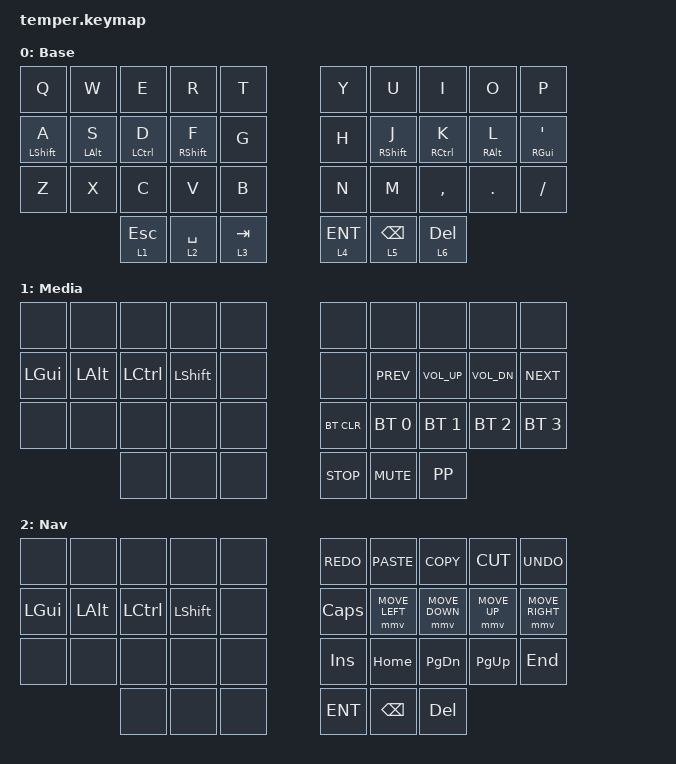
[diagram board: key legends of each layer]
/*
 * Copyright (c) 2020 The ZMK Contributors
 *
 * SPDX-License-Identifier: MIT
 */

#include <behaviors.dtsi>
#include <dt-bindings/zmk/keys.h>
#include <dt-bindings/zmk/bt.h>
#include <dt-bindings/zmk/pointing.h>

#define KEYS_L LT0 LT1 LT2 LT3 LT4 LM0 LM1 LM2 LM3 LM4 LB0 LB1 LB2 LB3 LB4  // Left-hand keys.
#define KEYS_R RT0 RT1 RT2 RT3 RT4 RM0 RM1 RM2 RM3 RM4 RB0 RB1 RB2 RB3 RB4  // Right-hand keys.
#define THUMBS LH2 LH1 LH0 RH0 RH1 RH2                                      // Thumb keys.

/ {
    chosen {
        zmk,physical-layout = &foostan_corne_5col_layout;
    };

    behaviors {
        hml: home_row_mod_left {
            compatible = "zmk,behavior-hold-tap";
            #binding-cells = <2>;
            flavor = "balanced";
            require-prior-idle-ms = <150>;
            tapping-term-ms = <280>;
            quick-tap-ms = <175>;
            bindings = <&kp>, <&kp>;
            hold-trigger-key-positions = <KEYS_R THUMBS>; // List of keys on the right side of the keyboard
            hold-trigger-on-release;
        };
        hmr: home_row_mod_right {
            compatible = "zmk,behavior-hold-tap";
            #binding-cells = <2>;
            flavor = "balanced";
            require-prior-idle-ms = <150>;
            tapping-term-ms = <280>;
            quick-tap-ms = <175>;
            bindings = <&kp>, <&kp>;
            hold-trigger-key-positions = <KEYS_L THUMBS>; // List of keys on the left side of the keyboard
            hold-trigger-on-release;
        };
    };
        keymap {
                compatible = "zmk,keymap";
                base_layer { //layer 0
                        display-name = "Base";
                        bindings = <
                        //╭──────────┬──────────┬──────────┬──────────┬──────────╮   ╭──────────┬──────────┬──────────┬──────────┬──────────╮
                        //│  Q       │  W       │  E       │  R       │  T       │   │  Y       │  U       │  I       │  O       │  P       │
                            &kp Q     &kp W       &kp E      &kp R      &kp T          &kp Y      &kp U       &kp I     &kp O     &kp P
                        //├──────────┼──────────┼──────────┼──────────┼──────────┤   ├──────────┼──────────┼──────────┼──────────┼──────────
                        //│  A       │  S       │  D       │  F       │  G       │   │  H       │  J       │  K       │  L       │ ' "      │
                            &hml LSHFT A &hml LALT S &hml LCTL D &hml RSHFT F &kp G    &kp H &hmr RSHFT J &hmr RCTL K &hmr RALT L &hmr RGUI APOS
                        //├──────────┼──────────┼──────────┼──────────┼──────────┤   ├──────────┼──────────┼──────────┼──────────┼──────────
                        //│  Z       │  X       │  C       │  V       │  B       │   │  N       │  M       │  , <     │ . >      │ / ?      │
                            &kp Z      &kp X      &kp C      &kp V      &kp B          &kp N      &kp M       &kp COMMA &kp DOT   &kp FSLH
                        //╰──────────┴──────────┼──────────┼──────────┼──────────┤   ├──────────┼──────────┼──────────┴──────────┴──────────╯
                        //                      │ L1 & ESC │ L2 & SPC │ L3 & TAB │   │ L4 & ENT │ L5 & BSPC│ L6 & DEL │   
                                                 &lt 1 ESC  &lt 2 SPC  &lt 3 TAB      &lt 4 ENT  &lt 5 BSPC  &lt 6 DEL
                        //                      ╰──────────┴──────────┴──────────╯   ╰──────────┴──────────┴──────────╯
                        >;
                };

                media_layer { //layer 1
                        display-name = "Media";
                        bindings = <
                        //╭──────────┬──────────┬──────────┬──────────┬──────────╮   ╭──────────┬──────────┬──────────┬──────────┬──────────╮
                        //│          │          │          │          │          │   │          │          │          │          │          │
                            &none      &none      &none      &none      &none          &none      &none       &none     &none     &none
                        //├──────────┼──────────┼──────────┼──────────┼──────────┤   ├──────────┼──────────┼──────────┼──────────┼──────────
                        //│  L. GUI  │ L. ALT   │ L. CTL   │ L. SHIFT │          │   │          │  PREVIOUS│  VOL +   │  VOL -   │ NEXT     │
                            &kp LGUI   &kp LALT   &kp LCTL   &kp LSHFT   &none         &none     &kp K_PREV  &kp K_VOL_UP &kp K_VOL_DN &kp K_NEXT
                        //├──────────┼──────────┼──────────┼──────────┼──────────┤   ├──────────┼──────────┼──────────┼──────────┼──────────
                        //│          │          │          │          │          │   │  BT CLR  │  BT 0    │  BT 1    │  BT 2    │ BT 3     │
                            &none      &none      &none      &none      &none        &bt BT_CLR &bt BT_SEL 0 &bt BT_SEL 1 &bt BT_SEL 2 &bt BT_SEL 3
                        //╰──────────┴──────────┼──────────┼──────────┼──────────┤   ├──────────┼──────────┼──────────┴──────────┴──────────╯
                        //                      │          │          │          │   │ STOP     │PLAY PAUSE│ MUTE     │   
                                                  &none        &none      &none      &kp K_STOP  &kp K_MUTE &kp K_PP
                        //                      ╰──────────┴──────────┴──────────╯   ╰──────────┴──────────┴──────────╯
                        >;
                };

                nav_layer { //layer 2
                        display-name = "Nav";
                        bindings = <
                        //╭──────────┬──────────┬──────────┬──────────┬──────────╮   ╭──────────┬──────────┬──────────┬──────────┬──────────╮
                        //│          │          │          │          │          │   │  REDO    │ PASTE    | COPY     │ CUT      │ UNDO     │
                            &none      &none      &none      &none      &none         &kp K_REDO &kp K_PASTE &kp K_COPY &kp K_CUT &kp K_UNDO
                        //├──────────┼──────────┼──────────┼──────────┼──────────┤   ├──────────┼──────────┼──────────┼──────────┼──────────
                        //│  L. GUI  │ L. ALT   │ L. CTL   │ L. SHIFT │          │   │ CAPS     │ LEFT     │ DOWN     │ UP       │ RIGHT    │
                            &kp LGUI   &kp LALT   &kp LCTL   &kp LSHFT   &none         &kp CAPS   &mmv MOVE_LEFT &mmv MOVE_DOWN &mmv MOVE_UP &mmv MOVE_RIGHT
                        //├──────────┼──────────┼──────────┼──────────┼──────────┤   ├──────────┼──────────┼──────────┼──────────┼──────────
                        //│          │          │          │          │          │   │ INSERT   │ HOME     │ PAGE DOWN│ PAGE UP  │ END      │
                            &none      &none      &none      &none      &none          &kp INS    &kp HOME   &kp PG_DN  &kp PG_UP  &kp END
                        //╰──────────┴──────────┼──────────┼──────────┼──────────┤   ├──────────┼──────────┼──────────┴──────────┴──────────╯
                        //                      │          │          │          │   │ ENTER    │ BACKSPACE│ DELETE   │   
                                                  &none        &none      &none       &kp ENT     &kp BSPC   &kp DEL
                        //                      ╰──────────┴──────────┴──────────╯   ╰──────────┴──────────┴──────────╯
                        >;

                mouse_layer { //layer 3
                        display-name = "Mouse";
                        bindings = <
                        //╭──────────┬──────────┬──────────┬──────────┬──────────╮   ╭──────────┬──────────┬──────────┬──────────┬──────────╮
                        //│          │          │          │          │          │   │  REDO    │ PASTE    | COPY     │ CUT      │ UNDO     │
                            &none      &none      &none      &none      &none         &kp K_REDO &kp K_PASTE &kp K_COPY &kp K_CUT &kp K_UNDO
                        //├──────────┼──────────┼──────────┼──────────┼──────────┤   ├──────────┼──────────┼──────────┼──────────┼──────────
                        //│  L. GUI  │ L. ALT   │ L. CTL   │ L. SHIFT │          │   │          │  LEFT    │ DOWN     │ UP       │ RIGHT    │
                            &kp LGUI   &kp LALT   &kp LCTL   &kp LSHFT   &none         &none     &mmv MOVE_LEFT &mmv MOVE_DOWN &mmv MOVE_UP &mmv MOVE_RIGHT
                        //├──────────┼──────────┼──────────┼──────────┼──────────┤   ├──────────┼──────────┼──────────┼──────────┼──────────
                        //│          │          │          │          │          │   │          │SCRL LEFT │SCRL DOWN │SCRL UP   │SCRL RIGHT│
                            &none      &none      &none      &none      &none          &none     &msc SCRL_LEFT &msc SCRL_DOWN &msc SCRL_UP &msc SCRL_RIGHT
                        //╰──────────┴──────────┼──────────┼──────────┼──────────┤   ├──────────┼──────────┼──────────┴──────────┴──────────╯
                        //                      │          │          │          │   │ R. CLICK │ L. CLICK │ MID CLICK│   
                                                  &none        &none      &none       &mkp RCLK  &mkp LCLK &mkp MCLK
                        //                      ╰──────────┴──────────┴──────────╯   ╰──────────┴──────────┴──────────╯
                        >;
                };
                macro_layer { //layer 4
                        display-name = "Nav";
                        bindings = <
                        //╭──────────┬──────────┬──────────┬──────────┬──────────╮   ╭──────────┬──────────┬──────────┬──────────┬──────────╮
                        //│  Q       │  W       │  E       │  R       │  T       │   │  Y       │  U       │  I       │  O       │  P       │
                            &kp Q     &kp W       &kp E      &kp R      &kp T          &kp Y      &kp U       &kp I     &kp O     &kp P
                        //├──────────┼──────────┼──────────┼──────────┼──────────┤   ├──────────┼──────────┼──────────┼──────────┼──────────
                        //│  A       │  S       │  D       │  F       │  G       │   │  H       │  J       │  K       │  L       │SINGLE QT │
                            &kp A     &kp S       &kp D      &kp F      &kp G          &kp H      &kp J       &kp K     &kp L     &kp '
                        //├──────────┼──────────┼──────────┼──────────┼──────────┤   ├──────────┼──────────┼──────────┼──────────┼──────────
                        //│  Z       │  X       │  C       │  V       │  B       │   │  N       │  M       │  COMMA   │  PERIOD  │F. SLASH  │
                            &kp Z      &kp X      &kp C      &kp V      &kp B          &kp N      &kp M       &kp COMMA &kp DOT   &kp FSLH
                        //╰──────────┴──────────┼──────────┼──────────┼──────────┤   ├──────────┼──────────┼──────────┴──────────┴──────────╯
                        //                      │ L1 & ESC │ L2 & SPC │ L3 & TAB │   │ L4 & ENT │ L5 & BSPC│ L6 & DEL │   
                                                 &lt 1 ESC  &lt 2 SPC  &lt 3 TAB      &lt 4 ENT  &lt 5 BSPC  &lt 6 DEL
                        //                      ╰──────────┴──────────┴──────────╯   ╰──────────┴──────────┴──────────╯
                        >;
                };

                number_layer { //layer 5
                        display-name = "Num";
                        bindings = <
                        //╭──────────┬──────────┬──────────┬──────────┬──────────╮   ╭──────────┬──────────┬──────────┬──────────┬──────────╮
                        //│ [ {      │ 7 &      │ 8 *      │ 9 (      │ ] }      │   │          │          │          │          │          │
                            &kp LBKT   &kp N7      &kp N8     &kp N9    &kp RBKT       &none      &none      &none      &none      &none     
                        //├──────────┼──────────┼──────────┼──────────┼──────────┤   ├──────────┼──────────┼──────────┼──────────┼──────────
                        //│ ; :      │ 4 $      │ 5 %      │ 6 ^      │ = +      │   │          │ R. SHIFT │  R. CTL  │ R. ALT   │ R. GUI   │
                            &kp SEMI   &kp N4      &kp N5     &kp N6   &kp EQUAL       &none      &kp RSHFT &kp RCTL   &kp RALT   &kp RGUI
                        //├──────────┼──────────┼──────────┼──────────┼──────────┤   ├──────────┼──────────┼──────────┼──────────┼──────────
                        //│ ` ~      │ 1 !      │ 2 @      │ 3 #      │ \ |      │   │          │          │          │          │          │
                            &kp GRAVE  &kp N1     &kp N2     &kp N3     &kp BKSH       &none      &none      &none      &none      &none    
                        //╰──────────┴──────────┼──────────┼──────────┼──────────┤   ├──────────┼──────────┼──────────┴──────────┴──────────╯
                        //                      │ . >      │ 0 )      │ - _      │   │          │          │          │   
                                                  &kp DOT    &kp N0     &kp MINUS      &none      &none      &none
                        //                      ╰──────────┴──────────┴──────────╯   ╰──────────┴──────────┴──────────╯
                        >;
                };

                function_layer { //layer 6
                        display-name = "FNC";
                        bindings = <
                        //╭──────────┬──────────┬──────────┬──────────┬──────────╮   ╭──────────┬──────────┬──────────┬──────────┬──────────╮
                        //│ F12      │ F7       │ F8       │ F9       │ PrintSC  │   │          │          │          │          │          │
                            &kp F12    &kp F7     &kp F8     &kp F9     &kp PSCRN      &none      &none      &none      &none      &none      
                        //├──────────┼──────────┼──────────┼──────────┼──────────┤   ├──────────┼──────────┼──────────┼──────────┼──────────
                        //│ F11      │ F4       │ F5       │ F6       │ SCRL LCK │   │          │ R. SHIFT │ R. CTL   │ R. ALT   │ R. GUI   │
                            &kp F11    &kp F4     &kp F5     &kp F6     &kp LSLCK      &none      &kp RSHFT  &kp RCTL   &kp RALT   &kp RGUI
                        //├──────────┼──────────┼──────────┼──────────┼──────────┤   ├──────────┼──────────┼──────────┼──────────┼──────────
                        //│ F10      │ F1       │ F2       │ F3       │ PAUSE BRK│   │          │          │          │          │          │
                            &kp F10    &kp F1     &kp F2     &kp F3     &kp PAUSE_BREAK &none     &none      &none      &none      &none
                        //╰──────────┴──────────┼──────────┼──────────┼──────────┤   ├──────────┼──────────┼──────────┴──────────┴──────────╯
                        //                      │ ESC      │ SPC      │ TAB      │   │          │          │          │   
                                                 &kp ESC     &kp SPC    &kp TAB        &none      &none      &none
                        //                      ╰──────────┴──────────┴──────────╯   ╰──────────┴──────────┴──────────╯
                        >;
                };
        };
};
